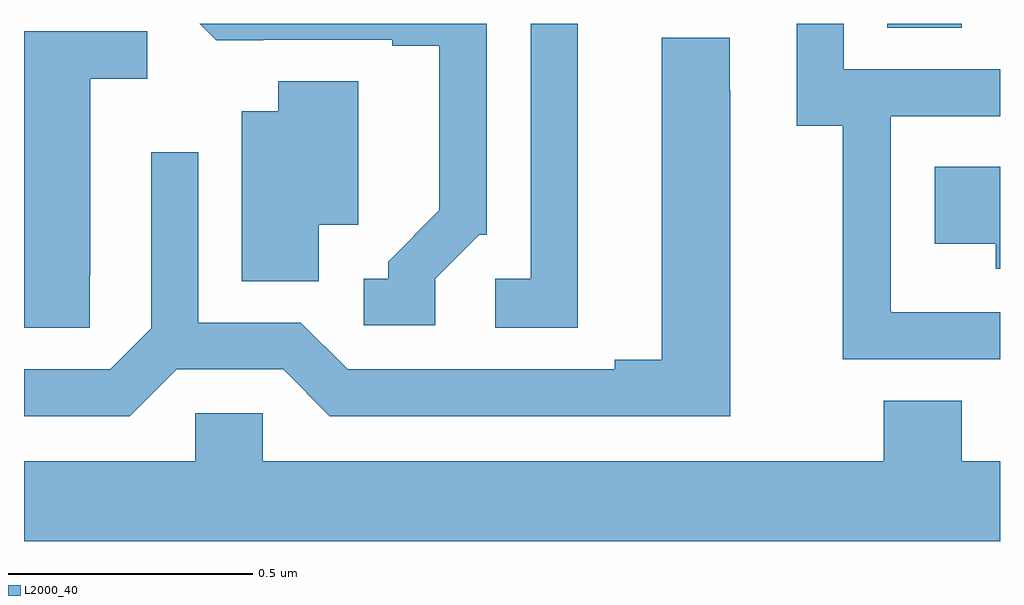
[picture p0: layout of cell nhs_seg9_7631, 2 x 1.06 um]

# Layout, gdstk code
import gdstk
lib = gdstk.Library(unit=1e-6, precision=1e-09)
def R(c, l, rs):  # rectangles x0, y0, x1, y1
    for r in rs: c.add(gdstk.rectangle(r[:2], r[2:], *l))
def P(c, l, *ps):  # polygons
    for p in ps: c.add(gdstk.Polygon(p, *l))
L2000_40 = (2000, 40)

nhs_seg9_7631 = lib.new_cell('nhs_seg9_7631')
R(nhs_seg9_7631, L2000_40, [(208.769,1177.492,208.922,1177.5)])
P(nhs_seg9_7631, L2000_40, [(208.135,1177.5),(208.038,1177.5),(208.038,1176.978),(207.966,1176.978),(207.966,1176.877),(208.135,1176.877)],
  [(209,1176.909),(208.778,1176.909),(208.778,1176.91),(208.776,1176.91),(208.776,1177.311),(209,1177.311),(209,1177.407),(208.68,1177.407),(208.68,1177.5),(208.583,1177.5),(208.583,1177.291),(208.678,1177.291),(208.678,1176.813),(209,1176.813)],
  [(207.843,1176.978),(207.933,1177.068),(207.948,1177.068),(207.948,1177.5),(207.36,1177.5),(207.394,1177.466),(207.49,1177.466),(207.49,1177.467),(207.755,1177.467),(207.755,1177.455),(207.851,1177.455),(207.851,1177.118),(207.746,1177.013),(207.746,1176.978),(207.696,1176.978),(207.696,1176.882),(207.843,1176.882)],
  [(207.135,1176.985),(207.136,1176.985),(207.136,1177.388),(207.253,1177.388),(207.253,1177.485),(207,1177.485),(207,1176.877),(207.135,1176.877)],
  [(207.313,1176.792),(207.531,1176.792),(207.627,1176.696),(208.447,1176.696),(208.447,1177.364),(208.446,1177.364),(208.446,1177.472),(208.307,1177.472),(208.307,1176.812),(208.211,1176.812),(208.211,1176.792),(207.663,1176.792),(207.567,1176.888),(207.357,1176.888),(207.357,1177.237),(207.261,1177.237),(207.261,1176.876),(207.177,1176.792),(207,1176.792),(207,1176.696),(207.217,1176.696)],
  [(207.604,1177.088),(207.685,1177.088),(207.685,1177.382),(207.521,1177.382),(207.521,1177.321),(207.446,1177.321),(207.446,1176.973),(207.604,1176.973)],
  [(209,1177.207),(208.866,1177.207),(208.866,1177.049),(208.991,1177.049),(208.991,1176.998),(209,1176.998)],
  [(209,1176.604),(208.922,1176.604),(208.922,1176.728),(208.762,1176.728),(208.762,1176.604),(207.489,1176.604),(207.489,1176.702),(207.351,1176.702),(207.351,1176.604),(207,1176.604),(207,1176.44),(209,1176.44)])

lib.write_gds('nhs_seg9_7631.gds')
